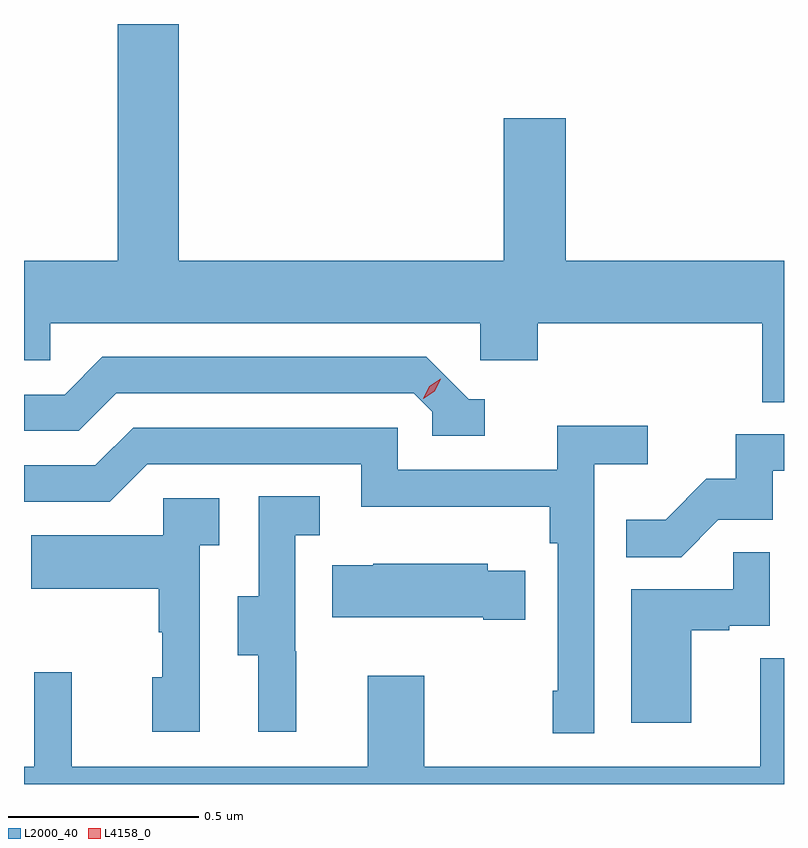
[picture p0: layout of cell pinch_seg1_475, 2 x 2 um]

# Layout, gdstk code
import gdstk
lib = gdstk.Library(unit=1e-6, precision=1e-09)
def P(c, l, *ps):  # polygons
    for p in ps: c.add(gdstk.Polygon(p, *l))
L2000_40 = (2000, 40)
L4158_0 = (4158, 0)

pinch_seg1_475 = lib.new_cell('pinch_seg1_475')
P(pinch_seg1_475, L2000_40, [(980.93,511.936),(980.356,511.936),(980.356,512.311),(980.192,512.311),(980.192,511.936),(979.337,511.936),(979.337,512.559),(979.177,512.559),(979.177,511.936),(978.93,511.936),(978.93,511.674),(978.999,511.674),(978.999,511.772),(980.13,511.772),(980.13,511.674),(980.282,511.674),(980.282,511.772),(980.873,511.772),(980.873,511.564),(980.93,511.564)],
  [(980.143,511.572),(980.1,511.572),(979.989,511.683),(979.136,511.683),(979.037,511.584),(978.93,511.584),(978.93,511.488),(979.074,511.488),(979.173,511.587),(979.956,511.587),(980.004,511.539),(980.004,511.476),(980.143,511.476)],
  [(980.43,511.4),(980.572,511.4),(980.572,511.502),(980.333,511.502),(980.333,511.386),(979.914,511.386),(979.914,511.497),(979.217,511.497),(979.118,511.398),(978.93,511.398),(978.93,511.302),(979.155,511.302),(979.254,511.401),(979.818,511.401),(979.818,511.289),(980.314,511.289),(980.314,511.193),(980.334,511.193),(980.334,510.805),(980.322,510.805),(980.322,510.693),(980.43,510.693)],
  [(980.757,511.254),(980.901,511.254),(980.901,511.383),(980.93,511.383),(980.93,511.479),(980.803,511.479),(980.803,511.362),(980.726,511.362),(980.619,511.255),(980.515,511.255),(980.515,511.156),(980.659,511.156)],
  [(979.646,510.909),(979.644,510.909),(979.644,511.213),(979.708,511.213),(979.708,511.316),(979.548,511.316),(979.548,511.053),(979.493,511.053),(979.493,510.898),(979.547,510.898),(979.547,510.696),(979.646,510.696)],
  [(979.392,511.187),(979.444,511.187),(979.444,511.311),(979.296,511.311),(979.296,511.213),(978.949,511.213),(978.949,511.073),(979.284,511.073),(979.284,510.959),(979.294,510.959),(979.294,510.84),(979.268,510.84),(979.268,510.696),(979.392,510.696)],
  [(980.686,510.963),(980.786,510.963),(980.786,510.975),(980.892,510.975),(980.892,511.169),(980.797,511.169),(980.797,511.071),(980.528,511.071),(980.528,510.72),(980.686,510.72)],
  [(980.249,511.12),(980.151,511.12),(980.151,511.138),(979.849,511.138),(979.849,511.135),(979.741,511.135),(979.741,510.998),(980.138,510.998),(980.138,510.991),(980.249,510.991)],
  [(980.93,510.89),(980.867,510.89),(980.867,510.604),(979.983,510.604),(979.983,510.844),(979.835,510.844),(979.835,510.604),(979.055,510.604),(979.055,510.853),(978.957,510.853),(978.957,510.604),(978.93,510.604),(978.93,510.559),(980.93,510.559)])
P(pinch_seg1_475, L4158_0, [(979.98,511.573),(979.98,511.573),(979.996,511.606),(980.027,511.625),(980.027,511.625),(980.027,511.625),(980.011,511.592),(979.98,511.573)])

lib.write_gds('pinch_seg1_475.gds')
